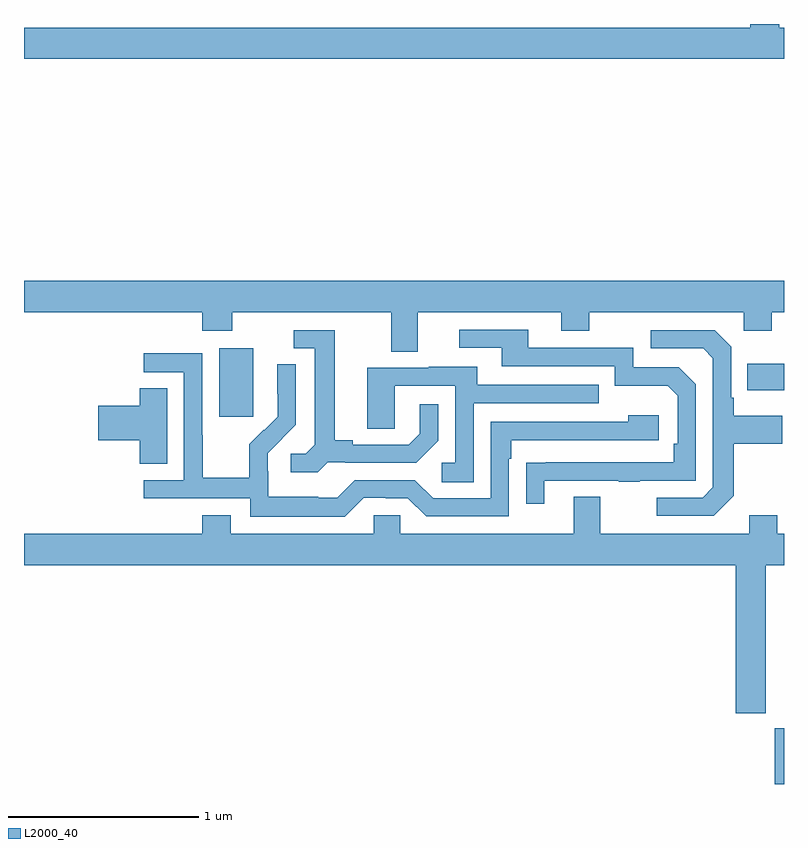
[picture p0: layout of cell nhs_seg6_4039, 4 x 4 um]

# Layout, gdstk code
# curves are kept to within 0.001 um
import gdstk
lib = gdstk.Library(unit=1e-6, precision=1e-09)
def R(c, l, rs):  # rectangles x0, y0, x1, y1
    for r in rs: c.add(gdstk.rectangle(r[:2], r[2:], *l))
def P(c, l, *ps):  # polygons
    for p in ps: c.add(gdstk.Polygon(p, *l))
L2000_40 = (2000, 40)

nhs_seg6_4039 = lib.new_cell('nhs_seg6_4039')
R(nhs_seg6_4039, L2000_40, [(352.952,963.5,353,963.793), (350.027,965.433,350.206,965.794), (352.807,965.573,353,965.713)])
P(nhs_seg6_4039, L2000_40, [(353,967.48),(352.975,967.48),(352.975,967.5),(352.823,967.5),(352.823,967.48),(349,967.48),(349,967.316),(353,967.316)],
  [(351.073,965.984),(351.827,965.984),(351.827,965.885),(351.975,965.885),(351.975,965.984),(352.788,965.984),(352.788,965.885),(352.935,965.885),(352.935,965.984),(353,965.984),(353,966.148),(349,966.148),(349,965.984),(349.937,965.984),(349.937,965.885),(350.097,965.885),(350.097,965.984),(350.933,965.984),(350.933,965.776),(351.073,965.776)],
  [(351.739,965.097),(352.129,965.097),(352.129,965.092),(352.241,965.092),(352.241,965.097),(352.536,965.097),(352.536,965.604),(352.446,965.694),(352.206,965.694),(352.206,965.796),(351.655,965.796),(351.655,965.892),(351.291,965.892),(351.291,965.796),(351.515,965.796),(351.515,965.7),(352.11,965.7),(352.11,965.597),(352.387,965.597),(352.44,965.544),(352.44,965.29),(352.42,965.29),(352.42,965.193),(351.643,965.192),(351.643,964.974),(351.739,964.974)],
  [(350.598,965.193),(350.692,965.193),(350.692,965.19),(351.064,965.19),(351.18,965.306),(351.18,965.5),(351.083,965.5),(351.083,965.343),(351.026,965.286),(350.731,965.286),(350.731,965.309),(350.635,965.309),(350.635,965.889),(350.421,965.889),(350.421,965.793),(350.531,965.793),(350.531,965.285),(350.484,965.238),(350.403,965.238),(350.403,965.141),(350.546,965.141)],
  [(352.735,965.017),(352.735,965.29),(352.991,965.29),(352.991,965.437),(352.735,965.437),(352.735,965.533),(352.722,965.533),(352.722,965.802),(352.635,965.889),(352.299,965.889),(352.299,965.793),(352.575,965.793),(352.626,965.742),(352.626,965.061),(352.572,965.007),(352.329,965.007),(352.329,964.911),(352.629,964.911)],
  [(350.787,965.007),(350.903,965.007),(350.903,965.004),(351.021,965.004),(351.117,964.908),(351.552,964.908),(351.552,965.213),(351.565,965.213),(351.565,965.31),(352.342,965.31),(352.342,965.44),(352.181,965.44),(352.181,965.406),(351.456,965.406),(351.456,965.004),(351.153,965.004),(351.057,965.1),(350.742,965.1),(350.649,965.007),(350.549,965.007),(350.549,965.011),(350.286,965.011),(350.286,965.145),(350.284,965.145),(350.284,965.242),(350.43,965.39),(350.43,965.708),(350.334,965.708),(350.334,965.554),(350.336,965.554),(350.336,965.432),(350.265,965.361),(350.262,965.364),(350.185,965.287),(350.185,965.113),(349.941,965.113),(349.941,965.336),(349.938,965.336),(349.938,965.766),(349.629,965.766),(349.629,965.667),(349.842,965.667),(349.842,965.1),(349.629,965.1),(349.629,965.004),(350.19,965.004),(350.19,964.907),(350.687,964.907)],
  [(351.366,965.505),(352.025,965.505),(352.025,965.601),(351.385,965.601),(351.385,965.695),(351.131,965.695),(351.131,965.691),(350.807,965.691),(350.807,965.371),(350.952,965.371),(350.952,965.595),(351.27,965.595),(351.27,965.19),(351.198,965.19),(351.198,965.089),(351.366,965.089)],
  [(349.753,965.582),(349.61,965.582),(349.61,965.492),(349.392,965.492),(349.392,965.309),(349.61,965.309),(349.61,965.185),(349.753,965.185)],
  [(352.905,964.652),(353,964.652),(353,964.816),(352.965,964.816),(352.965,964.915),(352.817,964.915),(352.817,964.816),(352.033,964.816),(352.033,965.011),(351.893,965.011),(351.893,964.816),(350.979,964.816),(350.979,964.914),(350.841,964.914),(350.841,964.816),(350.089,964.816),(350.089,964.915),(349.937,964.915),(349.937,964.816),(349,964.816),(349,964.652),(352.745,964.652),(352.745,963.873),(352.905,963.873)])

lib.write_gds('nhs_seg6_4039.gds')
